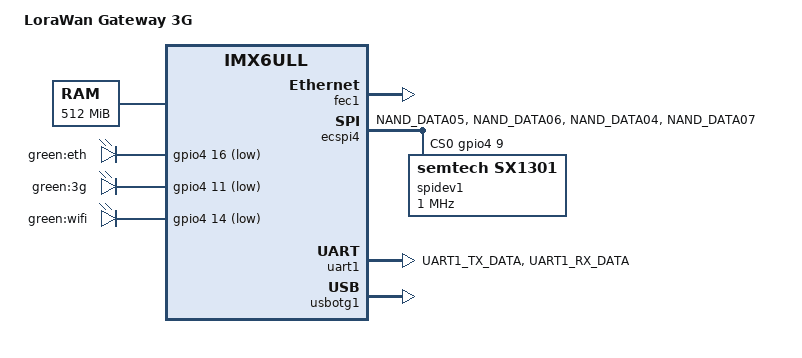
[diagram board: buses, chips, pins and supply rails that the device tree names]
/*
 * Copyright (C) 2016 Freescale Semiconductor, Inc.
 *
 * This program is free software; you can redistribute it and/or modify
 * it under the terms of the GNU General Public License version 2 as
 * published by the Free Software Foundation.
 */

/dts-v1/;

#include <dt-bindings/input/input.h>
#include "imx6ull.dtsi"

/ {
	model = "LoraWan Gateway 3G";
	compatible = "wirelessroad,gw-imx6ull", "fsl,imx6ull";

	chosen {
		stdout-path = &uart1;
		bootargs = "console=ttymxc0,115200 rootwait fixrtc quiet";
	};

	memory@80000000 {
        device_type = "memory";
		reg = <0x80000000 0x20000000>;
	};

	aliases {
		cpu0 = &cpu0;
		clks = &clks;
		fec1 = &fec1;
		ecspi3 = &ecspi3;
		ecspi4 = &ecspi4;
		gpc = &gpc;
		iomuxc = &iomuxc;
		usbotg1 = &usbotg1;
		wdog1 = &wdog1;
	};
	
	@aips3 {
		compatible = "fsl,aips-bus", "simple-bus";
		#address-cells = <1>;
		#size-cells = <1>;
		reg = <0x02200000 0x100000>;
		ranges;

		rngb: rngb@02284000 {
			compatible = "fsl,imx6sl-rng", "fsl,imx-rng", "imx-rng";
			reg = <0x02284000 0x4000>;
			interrupts = <GIC_SPI 6 IRQ_TYPE_LEVEL_HIGH>;
			clocks =  <&clks IMX6UL_CLK_DUMMY>;
		};
	};

	leds {
		compatible = "gpio-leds";
		led_0 {
			label = "green:eth";
			gpios = <&gpio4 16 GPIO_ACTIVE_LOW>;
		};
		led_1 {
			label = "green:3g";
			gpios = <&gpio4 11 GPIO_ACTIVE_LOW>;
		};
		led_2 {
			label = "green:wifi";
			gpios = <&gpio4 14 GPIO_ACTIVE_LOW>;

		};
	};
};

#include "wr_cpu.dtsi"
#include "wr_partitions.dtsi"
#include "wr_ethernet.dtsi"
#include "wr_usb.dtsi"
#include "wr_watchdog.dtsi"


&clks {
	assigned-clocks = <&clks IMX6UL_CLK_PLL4_AUDIO_DIV>;
	assigned-clock-rates = <786432000>;
};

&fec1 {
	status = "okay";
};

&ecspi4 {
	fsl,spi-num-chipselects = <1>;
	cs-gpios = <&gpio4 9 0>;
	pinctrl-names = "default";
	pinctrl-0 = <&pinctrl_ecspi4_0>;
	status = "okay";

	dma-names = "rx", "tx";
	dmas = <&sdma 9 7 1>, <&sdma 10 7 2>;

	spidev1: spidev@1 {
		status = "okay";
		compatible = "semtech,sx1301";
		spi-max-frequency = <1000000>;
		reg = <0>;
	};
};

&gpc {
	fsl,cpu_pupscr_sw2iso = <0x1>;
	fsl,cpu_pupscr_sw = <0x0>;
	fsl,cpu_pdnscr_iso2sw = <0x1>;
	fsl,cpu_pdnscr_iso = <0x1>;
	fsl,ldo-bypass = <0>; /* DCDC, ldo-enable */
};

&iomuxc {
	pinctrl-names = "default";
	pinctrl-0 = <&pinctrl_hog_1>;
	imx6ull-lwgw3g {
		pinctrl_hog_1: hoggrp-1 {
			fsl,pins = <
				MX6UL_PAD_NAND_CE1_B__GPIO4_IO14	0x11031	/* WiFi LED */
				MX6UL_PAD_NAND_DQS__GPIO4_IO16		0x11031	/* ETH LED */
				MX6UL_PAD_NAND_WP_B__GPIO4_IO11		0x11031	/* 3G LED */
				MX6UL_PAD_GPIO1_IO05__GPIO1_IO05	0x0f831	/* Modem Reset OD/pup 22k*/
				MX6UL_PAD_GPIO1_IO08__GPIO1_IO08	0x0f831	/* Modem Power OD/pup 22k*/
			>;
		};

		pinctrl_ecspi3_0: ecspi3grp-0 {
			fsl,pins = <
				MX6UL_PAD_UART2_CTS_B__ECSPI3_MOSI	0x110b1
				MX6UL_PAD_UART2_RTS_B__ECSPI3_MISO	0x110b1
				MX6UL_PAD_UART2_RX_DATA__ECSPI3_SCLK	0x110b1
				MX6UL_PAD_UART2_TX_DATA__GPIO1_IO20	0x10b0
			>;
		};

		pinctrl_ecspi4_0: ecspi4grp-0 {
			fsl,pins = <
				MX6UL_PAD_NAND_DATA05__ECSPI4_MOSI	0x110b1
				MX6UL_PAD_NAND_DATA06__ECSPI4_MISO	0x110b1
				MX6UL_PAD_NAND_DATA04__ECSPI4_SCLK	0x110b1
				MX6UL_PAD_NAND_DATA07__GPIO4_IO09	0x10b0
			>;
		};

		pinctrl_usb_otg1_id: usbotg1idgrp {
			fsl,pins = <
				MX6UL_PAD_GPIO1_IO00__ANATOP_OTG1_ID	0x17059
			>;
		};
		
		pinctrl_enet1: enet1grp {
			fsl,pins = <
				MX6UL_PAD_GPIO1_IO07__ENET1_MDC		0x1b0b0
				MX6UL_PAD_GPIO1_IO06__ENET1_MDIO	0x1b0b0
				MX6UL_PAD_ENET1_RX_EN__ENET1_RX_EN	0x1b0b0
				MX6UL_PAD_ENET1_RX_ER__ENET1_RX_ER	0x1b0b0
				MX6UL_PAD_ENET1_RX_DATA0__ENET1_RDATA00	0x1b0b0
				MX6UL_PAD_ENET1_RX_DATA1__ENET1_RDATA01	0x1b0b0
				MX6UL_PAD_ENET1_TX_EN__ENET1_TX_EN	0x1b0b0
				MX6UL_PAD_ENET1_TX_DATA0__ENET1_TDATA00	0x1b0b0
				MX6UL_PAD_ENET1_TX_DATA1__ENET1_TDATA01	0x1b0b0
				MX6UL_PAD_ENET1_TX_CLK__ENET1_REF_CLK1	0x4001b031
			>;
		};

		pinctrl_enet2: enet2grp {
			fsl,pins = <
				MX6UL_PAD_ENET2_RX_EN__ENET2_RX_EN      0x1b0b0
				MX6UL_PAD_ENET2_RX_ER__ENET2_RX_ER      0x1b0b0
				MX6UL_PAD_ENET2_RX_DATA0__ENET2_RDATA00 0x1b0b0
				MX6UL_PAD_ENET2_RX_DATA1__ENET2_RDATA01 0x1b0b0
				MX6UL_PAD_ENET2_TX_EN__ENET2_TX_EN      0x1b0b0
				MX6UL_PAD_ENET2_TX_DATA0__ENET2_TDATA00 0x1b0b0
				MX6UL_PAD_ENET2_TX_DATA1__ENET2_TDATA01 0x1b0b0
				MX6UL_PAD_ENET2_TX_CLK__ENET2_REF_CLK2  0x4001b031
			>;
		};
		
		pinctrl_uart1: uart1grp {
			fsl,pins = <
				MX6UL_PAD_UART1_TX_DATA__UART1_DCE_TX	0x1b0b1
				MX6UL_PAD_UART1_RX_DATA__UART1_DCE_RX	0x1b0b1
			>;
		};
	};
};

&uart1 {
	pinctrl-names = "default";
	pinctrl-0 = <&pinctrl_uart1>;
	status = "okay";
};

&usbotg1 {
	maximum-speed = "full-speed";
	status = "okay";
};
